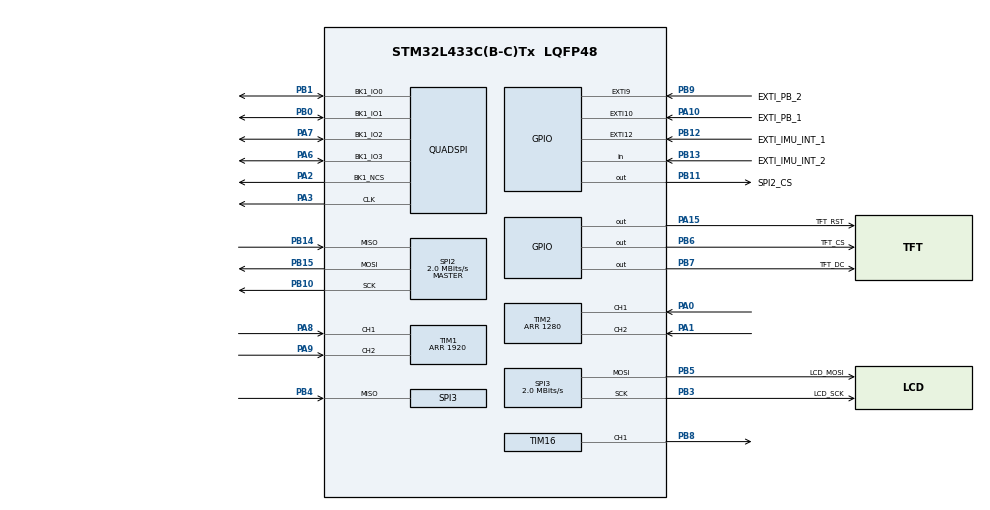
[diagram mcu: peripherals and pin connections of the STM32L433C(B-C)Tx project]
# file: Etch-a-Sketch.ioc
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Mcu.Family=STM32L4
Mcu.Name=STM32L433C(B-C)Tx
Mcu.Package=LQFP48
NVIC.EXTI15_10_IRQn=true\:0\:0\:false\:false\:true\:true\:true\:true
NVIC.EXTI9_5_IRQn=true\:0\:0\:false\:false\:true\:true\:true\:true
NVIC.PriorityGroup=NVIC_PRIORITYGROUP_4
PA0.Signal=S_TIM2_CH1
PA1.Signal=S_TIM2_CH2
PA10.GPIO_Label=EXTI_PB_1
PA10.GPIO_ModeDefaultEXTI=GPIO_MODE_IT_FALLING
PA10.GPIO_PuPd=GPIO_PULLUP
PA10.Signal=GPXTI10
PA15\ (JTDI).GPIO_Label=TFT_RST
PA15\ (JTDI).Signal=GPIO_Output
PA2.Mode=Single Bank 1
PA2.Signal=QUADSPI_BK1_NCS
PA3.Mode=Single Bank 1
PA3.Signal=QUADSPI_CLK
PA6.Mode=Single Bank 1
PA6.Signal=QUADSPI_BK1_IO3
PA7.Mode=Single Bank 1
PA7.Signal=QUADSPI_BK1_IO2
PA8.Signal=S_TIM1_CH1
PA9.Signal=S_TIM1_CH2
PB0.Mode=Single Bank 1
PB0.Signal=QUADSPI_BK1_IO1
PB1.Mode=Single Bank 1
PB1.Signal=QUADSPI_BK1_IO0
PB10.Mode=Full_Duplex_Master
PB10.Signal=SPI2_SCK
PB11.GPIO_Label=SPI2_CS
PB11.Signal=GPIO_Output
PB12.GPIO_Label=EXTI_IMU_INT_1
PB12.GPIO_PuPd=GPIO_PULLDOWN
PB12.Signal=GPXTI12
PB13.GPIO_Label=EXTI_IMU_INT_2
PB13.GPIO_PuPd=GPIO_PULLDOWN
PB13.Signal=GPIO_Input
PB14.Mode=Full_Duplex_Master
PB14.Signal=SPI2_MISO
PB15.Mode=Full_Duplex_Master
PB15.Signal=SPI2_MOSI
PB3\ (JTDO-TRACESWO).GPIO_Label=LCD_SCK
PB3\ (JTDO-TRACESWO).Mode=Full_Duplex_Master
PB3\ (JTDO-TRACESWO).Signal=SPI3_SCK
PB4\ (NJTRST).Mode=Full_Duplex_Master
PB4\ (NJTRST).Signal=SPI3_MISO
PB5.GPIO_Label=LCD_MOSI
PB5.Mode=Full_Duplex_Master
PB5.Signal=SPI3_MOSI
PB6.GPIO_Label=TFT_CS
PB6.Signal=GPIO_Output
PB7.GPIO_Label=TFT_DC
PB7.Signal=GPIO_Output
PB8.Signal=S_TIM16_CH1
PB9.GPIO_Label=EXTI_PB_2
PB9.GPIO_ModeDefaultEXTI=GPIO_MODE_IT_FALLING
PB9.GPIO_PuPd=GPIO_PULLUP
PB9.Signal=GPXTI9
ProjectManager.HeapSize=0x200
ProjectManager.StackSize=0x400
ProjectManager.TargetToolchain=CMake
RCC.HSE_VALUE=8000000
RCC.HSI48_VALUE=48000000
RCC.HSI_VALUE=16000000
RCC.LSE_VALUE=32768
RCC.MSI_VALUE=4000000
RCC.VCOOutputFreq_Value=32000000
SH.S_TIM16_CH1.0=TIM16_CH1,PWM Generation1 CH1
SH.S_TIM1_CH1.0=TIM1_CH1,Encoder_Interface
SH.S_TIM1_CH2.0=TIM1_CH2,Encoder_Interface
SH.S_TIM2_CH1.0=TIM2_CH1,Encoder_Interface
SH.S_TIM2_CH2.0=TIM2_CH2,Encoder_Interface
SPI2.BaudRatePrescaler=SPI_BAUDRATEPRESCALER_2
SPI2.CalculateBaudRate=2.0 MBits/s
SPI2.DataSize=SPI_DATASIZE_8BIT
SPI2.Direction=SPI_DIRECTION_2LINES
SPI2.Mode=SPI_MODE_MASTER
SPI2.VirtualType=VM_MASTER
SPI3.CalculateBaudRate=2.0 MBits/s
SPI3.DataSize=SPI_DATASIZE_8BIT
SPI3.Direction=SPI_DIRECTION_2LINES
SPI3.Mode=SPI_MODE_MASTER
SPI3.VirtualType=VM_MASTER
TIM1.EncoderMode=TIM_ENCODERMODE_TI12
TIM1.IC1Filter=15
TIM1.IC1Polarity=TIM_ICPOLARITY_FALLING
TIM1.IC2Filter=15
TIM1.IC2Polarity=TIM_ICPOLARITY_FALLING
TIM1.Period=1920
TIM16.Channel=TIM_CHANNEL_1
TIM16.Period=999
TIM16.Prescaler=79
TIM2.EncoderMode=TIM_ENCODERMODE_TI12
TIM2.IC1Filter=15
TIM2.IC1Polarity=TIM_ICPOLARITY_FALLING
TIM2.IC2Filter=15
TIM2.IC2Polarity=TIM_ICPOLARITY_FALLING
TIM2.Period=1280
VP_TIM16_VS_ClockSourceINT.Mode=Enable_Timer
board=custom

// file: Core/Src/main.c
/* USER CODE BEGIN Header */
/**
  ******************************************************************************
  * @file           : main.c
  * @brief          : Main program body
  ******************************************************************************
  * @attention
  *
  * Copyright (c) 2026 STMicroelectronics.
  * All rights reserved.
  *
  * This software is licensed under terms that can be found in the LICENSE file
  * in the root directory of this software component.
  * If no LICENSE file comes with this software, it is provided AS-IS.
  *
  ******************************************************************************
  */
/* USER CODE END Header */
#include "main.h"

/* USER CODE BEGIN Includes */

#include "ili9488.h"
#include "lis3dhtr.h"
#include <stdint.h>

/* USER CODE END Includes */

/* USER CODE BEGIN PTD */

typedef enum {
  SYSTEM_STATE_DRAWING,
  SYSTEM_STATE_ERASING,
  SYSTEM_STATE_DIMMING,
  SYSTEM_STATE_THICKNESS_SELECT,
} system_states;

/* USER CODE END PTD */

/* USER CODE BEGIN PD */

#define ETCH_A_SKETCH_GREY 0xD592

#define MAX_CURSOR_THICKNESS 40   // Capped for visual and performance reasons

// Use classic grey background
#if 0
#define BACKGROUND_COLOR ETCH_A_SKETCH_GREY
#else
#define BACKGROUND_COLOR 0xFFFF
#endif

/* USER CODE END PD */

QSPI_HandleTypeDef hqspi;

SPI_HandleTypeDef hspi2;
SPI_HandleTypeDef hspi3;

TIM_HandleTypeDef htim1;
TIM_HandleTypeDef htim2;
TIM_HandleTypeDef htim16;

/* USER CODE BEGIN PV */

system_states state = SYSTEM_STATE_DRAWING;

lis3dhtr_cfg_t lis3dhtr_cfg;

volatile bool shake_event_flag = 0;
volatile bool confirm_clear_screen_flag = 0;

uint16_t last_x_pos = 1;
uint16_t last_y_pos = 1;
uint16_t previous_selector_cnt = 0;

uint8_t system_line_thickness = 1;
uint8_t previous_system_line_thickness = 1;

volatile bool pb1_interrupt_fired = false;
volatile bool pb2_interrupt_fired = false;

/* USER CODE END PV */

void SystemClock_Config(void);
static void MX_GPIO_Init(void);
static void MX_QUADSPI_Init(void);
static void MX_SPI2_Init(void);
static void MX_SPI3_Init(void);
static void MX_TIM1_Init(void);
static void MX_TIM2_Init(void);
static void MX_TIM16_Init(void);
/* USER CODE BEGIN PFP */

static void clear_screen(int colour);
static void fill_cursor_box(uint16_t x, uint16_t y, uint8_t thickness, uint16_t colour);

/* USER CODE END PFP */

int main(void)
{

  /* MCU Configuration--------------------------------------------------------*/

  /* Reset of all peripherals, Initializes the Flash interface and the Systick. */
  HAL_Init();

  /* Configure the system clock */
  SystemClock_Config();

  /* Initialize all configured peripherals */
  MX_GPIO_Init();
  MX_QUADSPI_Init();
  MX_SPI2_Init();
  MX_SPI3_Init();
  MX_TIM1_Init();
  MX_TIM2_Init();
  MX_TIM16_Init();
  /* USER CODE BEGIN 2 */

  // Set initial PWM to max duty cycle for full brightness
  TIM16->CCR1 = TIM16->ARR;
  HAL_TIM_PWM_Start(&htim16, TIM_CHANNEL_1);

  // Start rotary encoder inputs
  HAL_TIM_Encoder_Start(&htim2, TIM_CHANNEL_ALL);
  HAL_TIM_Encoder_Start(&htim1, TIM_CHANNEL_ALL);

  // Configure LCD screen registers
  ILI9488_Init();
  setRotation(3);                             // Set landscape mode. 0, 0 in bottom right
  clear_screen(BACKGROUND_COLOR);    // Set screen to blank colour

  lis3dh_init(&lis3dhtr_cfg, &hspi2, SPI2_CS_GPIO_Port, SPI2_CS_Pin);
  lis3dh_configure_data(&lis3dhtr_cfg, LIS3DH_ODR_100HZ, LIS3DH_2, LIS3DH_MODE_NORMAL, 0x07);
  lis3dh_configure_shake_to_erase(&lis3dhtr_cfg, true);

  // Set default cursor position
  TIM1->CNT = 0;
  TIM2->CNT = 0;

  /* USER CODE END 2 */

  /* Infinite loop */
  /* USER CODE BEGIN WHILE */
  while (1)
  {

    if (shake_event_flag == true){

      // Check if device was facing down at time of interrupt
      if (confirm_clear_screen_flag == true){

        clear_screen(BACKGROUND_COLOR);
        confirm_clear_screen_flag = false;
      }

        // Clear interrupt latch from accelerometer
        uint8_t clear_token;
        lis3dh_read_interrupt_source(&lis3dhtr_cfg, LIS3DH_INT_PIN_1, &clear_token);

        shake_event_flag = false;
    }

    // Handle state change outside ISR
    if (pb1_interrupt_fired){
      switch (state) {
        case SYSTEM_STATE_DRAWING:
          // First PB1 press enters dimming mode
          last_x_pos = TIM1->CNT / 4;
          last_y_pos = TIM2->CNT / 4;
          TIM2->CNT = (TIM16->CCR1 * TIM2->ARR) / TIM16->ARR;
          previous_selector_cnt = TIM2->CNT;
          state = SYSTEM_STATE_DIMMING;
          break;

        case SYSTEM_STATE_DIMMING:
          // Second PB1 press enters thickness selection mode
          // last_x/y_pos already hold the original drawing position
          TIM2->CNT = (TIM2->ARR * system_line_thickness) / (MAX_CURSOR_THICKNESS);
          previous_selector_cnt = TIM2->CNT;
          state = SYSTEM_STATE_THICKNESS_SELECT;
          break;

        case SYSTEM_STATE_THICKNESS_SELECT:
          // Third PB1 press returns to normal drawing mode
          TIM1->CNT = last_x_pos * 4;
          TIM2->CNT = last_y_pos * 4;
          state = SYSTEM_STATE_DRAWING;

          // Prevent aritifact from previous state from showing
          fill_cursor_box(last_x_pos, last_y_pos, system_line_thickness, TFT9341_BLACK);
          break;

        default:
          state = SYSTEM_STATE_DRAWING;
          break;
      }
      pb1_interrupt_fired = false;
    }

    if (pb2_interrupt_fired){
        if (state == SYSTEM_STATE_ERASING) {
          state = SYSTEM_STATE_DRAWING;
          // Prevent aritifact from previous state from showing
          fill_cursor_box(last_x_pos, last_y_pos, system_line_thickness, TFT9341_BLACK);
        } else {
          // last_x_pos/last_y_pos already hold the real saved drawing position
          if (state == SYSTEM_STATE_DRAWING) {
            last_x_pos = TIM1->CNT / 4;
            last_y_pos = TIM2->CNT / 4;
          } else {
            // Coming from DIMMING/THICKNESS_SELECT
            TIM1->CNT = last_x_pos * 4;
            TIM2->CNT = last_y_pos * 4;
          }
          state = SYSTEM_STATE_ERASING;
          // Prevent aritifact from previous state from showing
          uint8_t box_thickness = (system_line_thickness > 2) ? (system_line_thickness - 2) : system_line_thickness;
          fill_cursor_box((last_x_pos + 1), (last_y_pos + 1), box_thickness, BACKGROUND_COLOR);

        }
        pb2_interrupt_fired = false;
    }

    // Enter code state machine
    switch (state){

      // Drawing cursor tracking encoders
      case (SYSTEM_STATE_DRAWING): {
        // Convert register values to cursor position
        uint16_t x_pos = TIM1->CNT / 4;
        uint16_t y_pos = TIM2->CNT / 4;

        if (x_pos != last_x_pos){
          uint16_t line_length = (x_pos > last_x_pos) ? (x_pos - last_x_pos) : (last_x_pos - x_pos);

          // Check for wrap overflow or underflow
          if (line_length > 440){
            // Normalize to border, recalculate length
            last_x_pos = (last_x_pos > 240) ? 0 : 480;
            line_length = (x_pos > last_x_pos) ? (x_pos - last_x_pos) : (last_x_pos - x_pos);
          }

          // Start point must be on the right
          uint16_t start_point = (x_pos > last_x_pos) ? last_x_pos : x_pos;

          // Draw a centered square the size square the cursor represents
          uint16_t half_thickness = system_line_thickness / 2;
          uint16_t square_x = (start_point >= half_thickness) ? (start_point - half_thickness) : 0;
          uint16_t square_y = (last_y_pos >= half_thickness) ? (last_y_pos - half_thickness) : 0;
          fillRect(square_x, square_y, line_length + system_line_thickness, system_line_thickness, TFT9341_BLACK);
          last_x_pos = x_pos;
        }

        if (y_pos != last_y_pos){
          uint16_t line_length = (y_pos > last_y_pos) ? (y_pos - last_y_pos) : (last_y_pos - y_pos);

          // Check for wrap overflow or underflow
          if (line_length > 300){
            // Normalize to border, recalculate line_length
            last_y_pos = (last_y_pos > 160) ? 0 : 320;
            line_length = (y_pos > last_y_pos) ? (y_pos - last_y_pos) : (last_y_pos - y_pos);
          }

          // Start point must be on the bottom
          uint16_t start_point = (y_pos > last_y_pos) ? last_y_pos : y_pos;

          // Draw a centered square the size square the cursor represents
          uint16_t half_thickness = system_line_thickness / 2;
          uint16_t square_x = (last_x_pos >= half_thickness) ? (last_x_pos - half_thickness) : 0;
          uint16_t square_y = (start_point >= half_thickness) ? (start_point - half_thickness) : 0;
          fillRect(square_x, square_y, system_line_thickness, line_length + system_line_thickness, TFT9341_BLACK);
          last_y_pos = y_pos;
        }
        break;
      }

      case (SYSTEM_STATE_ERASING): {
        // Convert register values to cursor position
        uint16_t erase_x_pos = TIM1->CNT / 4;
        uint16_t erase_y_pos = TIM2->CNT / 4;

        // Since it only regenerates on movement, there should be no flickering (no delay needed)
        if ((erase_x_pos != last_x_pos) || (erase_y_pos != last_y_pos)) {
          uint16_t half_thickness = system_line_thickness / 2;
          uint16_t old_square_x = (last_x_pos >= half_thickness) ? (last_x_pos - half_thickness) : 0;
          uint16_t old_square_y = (last_y_pos >= half_thickness) ? (last_y_pos - half_thickness) : 0;
          fillRect(old_square_x, old_square_y, system_line_thickness, system_line_thickness, BACKGROUND_COLOR);

          last_x_pos = erase_x_pos;
          last_y_pos = erase_y_pos;
          uint16_t new_square_x = (last_x_pos >= half_thickness) ? (last_x_pos - half_thickness) : 0;
          uint16_t new_square_y = (last_y_pos >= half_thickness) ? (last_y_pos - half_thickness) : 0;
          fillRect(new_square_x, new_square_y, system_line_thickness, system_line_thickness, TFT9341_BLACK);

          // Leave only an outline if possible
          if (system_line_thickness > 2){
              fillRect((new_square_x + 1), (new_square_y + 1), (system_line_thickness - 2), (system_line_thickness - 2), BACKGROUND_COLOR);
          }
        }
        break;
    }
      // Screen brightness control
      case (SYSTEM_STATE_DIMMING): {
          uint16_t current_cnt = TIM2->CNT;
          uint16_t delta = (current_cnt > previous_selector_cnt) ? (current_cnt - previous_selector_cnt) : (previous_selector_cnt - current_cnt);

          // A large jump in a single tick means the counter wrapped
          if (delta > (TIM2->ARR / 2)) {
            current_cnt = (current_cnt < previous_selector_cnt) ? TIM2->ARR : 0;
            TIM2->CNT = current_cnt;
          }
          previous_selector_cnt = current_cnt;

          // Convert TIM2 scale to TIM16 scale with integer division
          TIM16->CCR1 = (current_cnt * TIM16->ARR) / (TIM2->ARR);
        break;
      }

      case (SYSTEM_STATE_THICKNESS_SELECT): {
        uint16_t current_cnt = TIM2->CNT;
        uint16_t delta = (current_cnt > previous_selector_cnt) ? (current_cnt - previous_selector_cnt) : (previous_selector_cnt - current_cnt);

        // Same wrap-clamping as the brightness selector above
        if (delta > (TIM2->ARR / 2)) {
          current_cnt = (current_cnt < previous_selector_cnt) ? TIM2->ARR : 0;
          TIM2->CNT = current_cnt;
        }
        previous_selector_cnt = current_cnt;

        // Scale timer counter to size of uint8 with integer division (multiply first else CNT/ARR == 0)
        system_line_thickness = (current_cnt * MAX_CURSOR_THICKNESS) / (TIM2->ARR);

        // Minumum line thickness of 1
        if (system_line_thickness == 0){
          system_line_thickness = 1;
        }

        // Clear the area the larger previous thickness so the new one is visible
        if (system_line_thickness < previous_system_line_thickness){
            uint16_t prev_half_thickness = previous_system_line_thickness / 2;
            uint16_t prev_square_x = (last_x_pos >= prev_half_thickness) ? (last_x_pos - prev_half_thickness) : 0;
            uint16_t prev_square_y = (last_y_pos >= prev_half_thickness) ? (last_y_pos - prev_half_thickness) : 0;
            fillRect(prev_square_x, prev_square_y, previous_system_line_thickness, previous_system_line_thickness, BACKGROUND_COLOR);
        }

        // Preview cursor thickness, centered on the true cursor position
        uint16_t half_thickness = system_line_thickness / 2;
        uint16_t square_x = (last_x_pos >= half_thickness) ? (last_x_pos - half_thickness) : 0;
        uint16_t square_y = (last_y_pos >= half_thickness) ? (last_y_pos - half_thickness) : 0;
        fillRect(square_x, square_y, system_line_thickness, system_line_thickness, TFT9341_BLACK);

        previous_system_line_thickness = system_line_thickness;
        break;
      }

      // Unknown state entered, default to drawing
      default: {
        state = SYSTEM_STATE_DRAWING;
        break;
      }
    }

    /* USER CODE END WHILE */

  }
}

void SystemClock_Config(void)
{
  RCC_OscInitTypeDef RCC_OscInitStruct = {0};
  RCC_ClkInitTypeDef RCC_ClkInitStruct = {0};

  /** Configure the main internal regulator output voltage
  */
  if (HAL_PWREx_ControlVoltageScaling(PWR_REGULATOR_VOLTAGE_SCALE1) != HAL_OK)
  {
    Error_Handler();
  }

  /** Initializes the RCC Oscillators according to the specified parameters
  * in the RCC_OscInitTypeDef structure.
  */
  RCC_OscInitStruct.OscillatorType = RCC_OSCILLATORTYPE_MSI;
  RCC_OscInitStruct.MSIState = RCC_MSI_ON;
  RCC_OscInitStruct.MSICalibrationValue = 0;
  RCC_OscInitStruct.MSIClockRange = RCC_MSIRANGE_6;
  RCC_OscInitStruct.PLL.PLLState = RCC_PLL_NONE;
  if (HAL_RCC_OscConfig(&RCC_OscInitStruct) != HAL_OK)
  {
    Error_Handler();
  }

  /** Initializes the CPU, AHB and APB buses clocks
  */
  RCC_ClkInitStruct.ClockType = RCC_CLOCKTYPE_HCLK|RCC_CLOCKTYPE_SYSCLK
                              |RCC_CLOCKTYPE_PCLK1|RCC_CLOCKTYPE_PCLK2;
  RCC_ClkInitStruct.SYSCLKSource = RCC_SYSCLKSOURCE_MSI;
  RCC_ClkInitStruct.AHBCLKDivider = RCC_SYSCLK_DIV1;
  RCC_ClkInitStruct.APB1CLKDivider = RCC_HCLK_DIV1;
  RCC_ClkInitStruct.APB2CLKDivider = RCC_HCLK_DIV1;

  if (HAL_RCC_ClockConfig(&RCC_ClkInitStruct, FLASH_LATENCY_0) != HAL_OK)
  {
    Error_Handler();
  }
}

static void MX_QUADSPI_Init(void)
{

  /* QUADSPI parameter configuration*/
  hqspi.Instance = QUADSPI;
  hqspi.Init.ClockPrescaler = 255;
  hqspi.Init.FifoThreshold = 1;
  hqspi.Init.SampleShifting = QSPI_SAMPLE_SHIFTING_NONE;
  hqspi.Init.FlashSize = 1;
  hqspi.Init.ChipSelectHighTime = QSPI_CS_HIGH_TIME_1_CYCLE;
  hqspi.Init.ClockMode = QSPI_CLOCK_MODE_0;
  hqspi.Init.FlashID = QSPI_FLASH_ID_1;
  hqspi.Init.DualFlash = QSPI_DUALFLASH_DISABLE;
  if (HAL_QSPI_Init(&hqspi) != HAL_OK)
  {
    Error_Handler();
  }

}

static void MX_SPI2_Init(void)
{

  /* SPI2 parameter configuration*/
  hspi2.Instance = SPI2;
  hspi2.Init.Mode = SPI_MODE_MASTER;
  hspi2.Init.Direction = SPI_DIRECTION_2LINES;
  hspi2.Init.DataSize = SPI_DATASIZE_8BIT;
  hspi2.Init.CLKPolarity = SPI_POLARITY_LOW;
  hspi2.Init.CLKPhase = SPI_PHASE_1EDGE;
  hspi2.Init.NSS = SPI_NSS_SOFT;
  hspi2.Init.BaudRatePrescaler = SPI_BAUDRATEPRESCALER_2;
  hspi2.Init.FirstBit = SPI_FIRSTBIT_MSB;
  hspi2.Init.TIMode = SPI_TIMODE_DISABLE;
  hspi2.Init.CRCCalculation = SPI_CRCCALCULATION_DISABLE;
  hspi2.Init.CRCPolynomial = 7;
  hspi2.Init.CRCLength = SPI_CRC_LENGTH_DATASIZE;
  hspi2.Init.NSSPMode = SPI_NSS_PULSE_ENABLE;
  if (HAL_SPI_Init(&hspi2) != HAL_OK)
  {
    Error_Handler();
  }

}

static void MX_SPI3_Init(void)
{

  /* SPI3 parameter configuration*/
  hspi3.Instance = SPI3;
  hspi3.Init.Mode = SPI_MODE_MASTER;
  hspi3.Init.Direction = SPI_DIRECTION_2LINES;
  hspi3.Init.DataSize = SPI_DATASIZE_8BIT;
  hspi3.Init.CLKPolarity = SPI_POLARITY_LOW;
  hspi3.Init.CLKPhase = SPI_PHASE_1EDGE;
  hspi3.Init.NSS = SPI_NSS_SOFT;
  hspi3.Init.BaudRatePrescaler = SPI_BAUDRATEPRESCALER_2;
  hspi3.Init.FirstBit = SPI_FIRSTBIT_MSB;
  hspi3.Init.TIMode = SPI_TIMODE_DISABLE;
  hspi3.Init.CRCCalculation = SPI_CRCCALCULATION_DISABLE;
  hspi3.Init.CRCPolynomial = 7;
  hspi3.Init.CRCLength = SPI_CRC_LENGTH_DATASIZE;
  hspi3.Init.NSSPMode = SPI_NSS_PULSE_ENABLE;
  if (HAL_SPI_Init(&hspi3) != HAL_OK)
  {
    Error_Handler();
  }

}

static void MX_TIM1_Init(void)
{

  TIM_Encoder_InitTypeDef sConfig = {0};
  TIM_MasterConfigTypeDef sMasterConfig = {0};

  htim1.Instance = TIM1;
  htim1.Init.Prescaler = 0;
  htim1.Init.CounterMode = TIM_COUNTERMODE_UP;
  htim1.Init.Period = 1920;
  htim1.Init.ClockDivision = TIM_CLOCKDIVISION_DIV1;
  htim1.Init.RepetitionCounter = 0;
  htim1.Init.AutoReloadPreload = TIM_AUTORELOAD_PRELOAD_DISABLE;
  sConfig.EncoderMode = TIM_ENCODERMODE_TI12;
  sConfig.IC1Polarity = TIM_ICPOLARITY_FALLING;
  sConfig.IC1Selection = TIM_ICSELECTION_DIRECTTI;
  sConfig.IC1Prescaler = TIM_ICPSC_DIV1;
  sConfig.IC1Filter = 15;
  sConfig.IC2Polarity = TIM_ICPOLARITY_FALLING;
  sConfig.IC2Selection = TIM_ICSELECTION_DIRECTTI;
  sConfig.IC2Prescaler = TIM_ICPSC_DIV1;
  sConfig.IC2Filter = 15;
  if (HAL_TIM_Encoder_Init(&htim1, &sConfig) != HAL_OK)
  {
    Error_Handler();
  }
  sMasterConfig.MasterOutputTrigger = TIM_TRGO_RESET;
  sMasterConfig.MasterOutputTrigger2 = TIM_TRGO2_RESET;
  sMasterConfig.MasterSlaveMode = TIM_MASTERSLAVEMODE_DISABLE;
  if (HAL_TIMEx_MasterConfigSynchronization(&htim1, &sMasterConfig) != HAL_OK)
  {
    Error_Handler();
  }

}

static void MX_TIM2_Init(void)
{

  TIM_Encoder_InitTypeDef sConfig = {0};
  TIM_MasterConfigTypeDef sMasterConfig = {0};

  htim2.Instance = TIM2;
  htim2.Init.Prescaler = 0;
  htim2.Init.CounterMode = TIM_COUNTERMODE_UP;
  htim2.Init.Period = 1280;
  htim2.Init.ClockDivision = TIM_CLOCKDIVISION_DIV1;
  htim2.Init.AutoReloadPreload = TIM_AUTORELOAD_PRELOAD_DISABLE;
  sConfig.EncoderMode = TIM_ENCODERMODE_TI12;
  sConfig.IC1Polarity = TIM_ICPOLARITY_FALLING;
  sConfig.IC1Selection = TIM_ICSELECTION_DIRECTTI;
  sConfig.IC1Prescaler = TIM_ICPSC_DIV1;
  sConfig.IC1Filter = 15;
  sConfig.IC2Polarity = TIM_ICPOLARITY_FALLING;
  sConfig.IC2Selection = TIM_ICSELECTION_DIRECTTI;
  sConfig.IC2Prescaler = TIM_ICPSC_DIV1;
  sConfig.IC2Filter = 15;
  if (HAL_TIM_Encoder_Init(&htim2, &sConfig) != HAL_OK)
  {
    Error_Handler();
  }
  sMasterConfig.MasterOutputTrigger = TIM_TRGO_RESET;
  sMasterConfig.MasterSlaveMode = TIM_MASTERSLAVEMODE_DISABLE;
  if (HAL_TIMEx_MasterConfigSynchronization(&htim2, &sMasterConfig) != HAL_OK)
  {
    Error_Handler();
  }

}

static void MX_TIM16_Init(void)
{

  TIM_OC_InitTypeDef sConfigOC = {0};
  TIM_BreakDeadTimeConfigTypeDef sBreakDeadTimeConfig = {0};

  htim16.Instance = TIM16;
  htim16.Init.Prescaler = 79;
  htim16.Init.CounterMode = TIM_COUNTERMODE_UP;
  htim16.Init.Period = 999;
  htim16.Init.ClockDivision = TIM_CLOCKDIVISION_DIV1;
  htim16.Init.RepetitionCounter = 0;
  htim16.Init.AutoReloadPreload = TIM_AUTORELOAD_PRELOAD_DISABLE;
  if (HAL_TIM_Base_Init(&htim16) != HAL_OK)
  {
    Error_Handler();
  }
  if (HAL_TIM_PWM_Init(&htim16) != HAL_OK)
  {
    Error_Handler();
  }
  sConfigOC.OCMode = TIM_OCMODE_PWM1;
  sConfigOC.Pulse = 0;
  sConfigOC.OCPolarity = TIM_OCPOLARITY_HIGH;
  sConfigOC.OCNPolarity = TIM_OCNPOLARITY_HIGH;
  sConfigOC.OCFastMode = TIM_OCFAST_DISABLE;
  sConfigOC.OCIdleState = TIM_OCIDLESTATE_RESET;
  sConfigOC.OCNIdleState = TIM_OCNIDLESTATE_RESET;
  if (HAL_TIM_PWM_ConfigChannel(&htim16, &sConfigOC, TIM_CHANNEL_1) != HAL_OK)
  {
    Error_Handler();
  }
  sBreakDeadTimeConfig.OffStateRunMode = TIM_OSSR_DISABLE;
  sBreakDeadTimeConfig.OffStateIDLEMode = TIM_OSSI_DISABLE;
  sBreakDeadTimeConfig.LockLevel = TIM_LOCKLEVEL_OFF;
  sBreakDeadTimeConfig.DeadTime = 0;
  sBreakDeadTimeConfig.BreakState = TIM_BREAK_DISABLE;
  sBreakDeadTimeConfig.BreakPolarity = TIM_BREAKPOLARITY_HIGH;
  sBreakDeadTimeConfig.AutomaticOutput = TIM_AUTOMATICOUTPUT_DISABLE;
  if (HAL_TIMEx_ConfigBreakDeadTime(&htim16, &sBreakDeadTimeConfig) != HAL_OK)
  {
    Error_Handler();
  }
  HAL_TIM_MspPostInit(&htim16);

}

static void MX_GPIO_Init(void)
{
  GPIO_InitTypeDef GPIO_InitStruct = {0};

  /* GPIO Ports Clock Enable */
  __HAL_RCC_GPIOA_CLK_ENABLE();
  __HAL_RCC_GPIOB_CLK_ENABLE();

  /*Configure GPIO pin Output Level */
  HAL_GPIO_WritePin(GPIOB, SPI2_CS_Pin|TFT_CS_Pin|TFT_DC_Pin, GPIO_PIN_RESET);

  /*Configure GPIO pin Output Level */
  HAL_GPIO_WritePin(TFT_RST_GPIO_Port, TFT_RST_Pin, GPIO_PIN_RESET);

  /*Configure GPIO pins : SPI2_CS_Pin TFT_CS_Pin TFT_DC_Pin */
  GPIO_InitStruct.Pin = SPI2_CS_Pin|TFT_CS_Pin|TFT_DC_Pin;
  GPIO_InitStruct.Mode = GPIO_MODE_OUTPUT_PP;
  GPIO_InitStruct.Pull = GPIO_NOPULL;
  GPIO_InitStruct.Speed = GPIO_SPEED_FREQ_LOW;
  HAL_GPIO_Init(GPIOB, &GPIO_InitStruct);

  /*Configure GPIO pin : EXTI_IMU_INT_1_Pin */
  GPIO_InitStruct.Pin = EXTI_IMU_INT_1_Pin;
  GPIO_InitStruct.Mode = GPIO_MODE_IT_RISING;
  GPIO_InitStruct.Pull = GPIO_PULLDOWN;
  HAL_GPIO_Init(EXTI_IMU_INT_1_GPIO_Port, &GPIO_InitStruct);

  /*Configure GPIO pin : EXTI_IMU_INT_2_Pin */
  GPIO_InitStruct.Pin = EXTI_IMU_INT_2_Pin;
  GPIO_InitStruct.Mode = GPIO_MODE_INPUT;
  GPIO_InitStruct.Pull = GPIO_PULLDOWN;
  HAL_GPIO_Init(EXTI_IMU_INT_2_GPIO_Port, &GPIO_InitStruct);

  /*Configure GPIO pin : EXTI_PB_1_Pin */
  GPIO_InitStruct.Pin = EXTI_PB_1_Pin;
  GPIO_InitStruct.Mode = GPIO_MODE_IT_FALLING;
  GPIO_InitStruct.Pull = GPIO_PULLUP;
  HAL_GPIO_Init(EXTI_PB_1_GPIO_Port, &GPIO_InitStruct);

  /*Configure GPIO pin : TFT_RST_Pin */
  GPIO_InitStruct.Pin = TFT_RST_Pin;
  GPIO_InitStruct.Mode = GPIO_MODE_OUTPUT_PP;
  GPIO_InitStruct.Pull = GPIO_NOPULL;
  GPIO_InitStruct.Speed = GPIO_SPEED_FREQ_LOW;
  HAL_GPIO_Init(TFT_RST_GPIO_Port, &GPIO_InitStruct);

  /*Configure GPIO pin : EXTI_PB_2_Pin */
  GPIO_InitStruct.Pin = EXTI_PB_2_Pin;
  GPIO_InitStruct.Mode = GPIO_MODE_IT_FALLING;
  GPIO_InitStruct.Pull = GPIO_PULLUP;
  HAL_GPIO_Init(EXTI_PB_2_GPIO_Port, &GPIO_InitStruct);

  /* EXTI interrupt init*/
  HAL_NVIC_SetPriority(EXTI9_5_IRQn, 0, 0);
  HAL_NVIC_EnableIRQ(EXTI9_5_IRQn);

  HAL_NVIC_SetPriority(EXTI15_10_IRQn, 0, 0);
  HAL_NVIC_EnableIRQ(EXTI15_10_IRQn);

}

/* USER CODE BEGIN 4 */

void HAL_GPIO_EXTI_Callback(uint16_t GPIO_Pin) {
  if (GPIO_Pin == EXTI_PB_1_Pin) {
    pb1_interrupt_fired = true;
  } else if (GPIO_Pin == EXTI_PB_2_Pin) {
    pb2_interrupt_fired = true;
  }
  else if (GPIO_Pin == EXTI_IMU_INT_1_Pin) {

    // Read physical INT2 pin state (which mirrors live upside-down status)
    bool is_upside_down = (HAL_GPIO_ReadPin(EXTI_IMU_INT_2_GPIO_Port, EXTI_IMU_INT_2_Pin) == GPIO_PIN_SET);

    if (is_upside_down) {
        confirm_clear_screen_flag = true;
    }

    shake_event_flag = true;
  }
}

static void clear_screen(int colour) {
   // Set screen to blank colour without overloading memory
  for (int i = 0; i < 16; i++) {
    fillRect(0, 20 * i, 480, 20, colour);
  }
}

static void fill_cursor_box(uint16_t x, uint16_t y, uint8_t thickness, uint16_t colour){

  uint16_t half_thickness = thickness / 2;
  uint16_t square_x = (x >= half_thickness) ? (x - half_thickness) : 0;
  uint16_t square_y = (y >= half_thickness) ? (y - half_thickness) : 0;

  fillRect(square_x, square_y, thickness, thickness, colour);
}

/* USER CODE END 4 */

void Error_Handler(void)
{
  __disable_irq();
  while (1)
  {
  }
}
